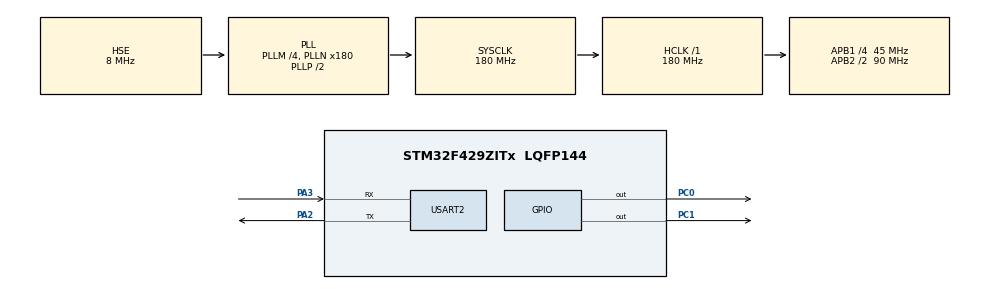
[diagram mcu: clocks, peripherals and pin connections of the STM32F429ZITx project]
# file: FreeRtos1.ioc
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FREERTOS.Tasks01=defaultTask,0,128,StartDefaultTask,Default,NULL,Dynamic,NULL,NULL;myTask02,-3,128,StartTask02,Default,NULL,Dynamic,NULL,NULL
FREERTOS.configUSE_NEWLIB_REENTRANT=1
Mcu.Family=STM32F4
Mcu.Name=STM32F429ZITx
Mcu.Package=LQFP144
NVIC.PriorityGroup=NVIC_PRIORITYGROUP_4
NVIC.TIM1_UP_TIM10_IRQn=true\:15\:0\:false\:false\:true\:false\:false\:true\:true
NVIC.TimeBase=TIM1_UP_TIM10_IRQn
NVIC.TimeBaseIP=TIM1
PA13.Mode=Serial_Wire
PA13.Signal=SYS_JTMS-SWDIO
PA14.Mode=Serial_Wire
PA14.Signal=SYS_JTCK-SWCLK
PA2.Mode=Asynchronous
PA2.Signal=USART2_TX
PA3.Mode=Asynchronous
PA3.Signal=USART2_RX
PC0.Signal=GPIO_Output
PC1.Signal=GPIO_Output
PH0/OSC_IN.Mode=HSE-External-Clock-Source
PH0/OSC_IN.Signal=RCC_OSC_IN
PH1/OSC_OUT.Mode=HSE-External-Clock-Source
PH1/OSC_OUT.Signal=RCC_OSC_OUT
ProjectManager.HeapSize=0x200
ProjectManager.StackSize=0x400
ProjectManager.TargetToolchain=STM32CubeIDE
RCC.48MHZClocksFreq_Value=120000000
RCC.AHBFreq_Value=180000000
RCC.APB1CLKDivider=RCC_HCLK_DIV4
RCC.APB1Freq_Value=45000000
RCC.APB1TimFreq_Value=90000000
RCC.APB2CLKDivider=RCC_HCLK_DIV2
RCC.APB2Freq_Value=90000000
RCC.APB2TimFreq_Value=180000000
RCC.CortexFreq_Value=180000000
RCC.HCLKFreq_Value=180000000
RCC.HSE_VALUE=8000000
RCC.HSI_VALUE=16000000
RCC.LSE_VALUE=32768
RCC.PLLM=4
RCC.PLLN=180
RCC.PLLQ=3
RCC.PLLSAIN=50
RCC.PLLSourceVirtual=RCC_PLLSOURCE_HSE
RCC.SYSCLKFreq_VALUE=180000000
RCC.SYSCLKSource=RCC_SYSCLKSOURCE_PLLCLK
RCC.VCOOutputFreq_Value=360000000
USART2.VirtualMode=VM_ASYNC
VP_FREERTOS_VS_CMSIS_V1.Mode=CMSIS_V1
VP_SYS_VS_tim1.Mode=TIM1
board=STM32F429I-DISC1

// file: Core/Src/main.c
/* USER CODE BEGIN Header */
/**
  ******************************************************************************
  * @file           : main.c
  * @brief          : Main program body
  ******************************************************************************
  * @attention
  *
  * Copyright (c) 2025 STMicroelectronics.
  * All rights reserved.
  *
  * This software is licensed under terms that can be found in the LICENSE file
  * in the root directory of this software component.
  * If no LICENSE file comes with this software, it is provided AS-IS.
  *
  ******************************************************************************
  */
/* USER CODE END Header */
#include "main.h"
#include "cmsis_os.h"

UART_HandleTypeDef huart2;

osThreadId defaultTaskHandle;
osThreadId myTask02Handle;
/* USER CODE BEGIN PV */
osThreadId Task3Handle;
/* USER CODE END PV */

void SystemClock_Config(void);
static void MX_GPIO_Init(void);
static void MX_USART2_UART_Init(void);
void StartDefaultTask(void const * argument);
void StartTask02(void const * argument);

/* USER CODE BEGIN PFP */
void Task3_init (void const * argument);
/* USER CODE END PFP */

/* USER CODE BEGIN 0 */
void send_defaulttask()
{
	uint8_t message[] ="Default Task\n";
	HAL_UART_Transmit(&huart2, message, sizeof(message), 500);
}

void send_Task02()
{
	uint8_t message[] =" Task2\n";
	HAL_UART_Transmit(&huart2, message, sizeof(message), 500);
}

void send_Task03()
{
	uint8_t message[] =" Task3\n";
	HAL_UART_Transmit(&huart2, message, sizeof(message), 500);
}
/* USER CODE END 0 */

int main(void)
{

  /* MCU Configuration--------------------------------------------------------*/

  /* Reset of all peripherals, Initializes the Flash interface and the Systick. */
  HAL_Init();

  /* Configure the system clock */
  SystemClock_Config();

  /* Initialize all configured peripherals */
  MX_GPIO_Init();
  MX_USART2_UART_Init();

  /* Create the thread(s) */
  /* definition and creation of defaultTask */
  osThreadDef(defaultTask, StartDefaultTask, osPriorityNormal, 0, 128);
  defaultTaskHandle = osThreadCreate(osThread(defaultTask), NULL);

  /* definition and creation of myTask02 */
  osThreadDef(myTask02, StartTask02, osPriorityNormal, 0, 128);
  myTask02Handle = osThreadCreate(osThread(myTask02), NULL);

  /* USER CODE BEGIN RTOS_THREADS */
  /* add threads, ... */
  // define thread
	osThreadDef(Task3,Task3_init, osPriorityNormal, 0, 128);
	//create thread
	Task3Handle = osThreadCreate(osThread(Task3), NULL);
  /* USER CODE END RTOS_THREADS */

  /* Start scheduler */
  osKernelStart();

  /* We should never get here as control is now taken by the scheduler */

  /* Infinite loop */
  while (1)
  {

  }
}

void SystemClock_Config(void)
{
  RCC_OscInitTypeDef RCC_OscInitStruct = {0};
  RCC_ClkInitTypeDef RCC_ClkInitStruct = {0};

  /** Configure the main internal regulator output voltage
  */
  __HAL_RCC_PWR_CLK_ENABLE();
  __HAL_PWR_VOLTAGESCALING_CONFIG(PWR_REGULATOR_VOLTAGE_SCALE1);

  /** Initializes the RCC Oscillators according to the specified parameters
  * in the RCC_OscInitTypeDef structure.
  */
  RCC_OscInitStruct.OscillatorType = RCC_OSCILLATORTYPE_HSE;
  RCC_OscInitStruct.HSEState = RCC_HSE_BYPASS;
  RCC_OscInitStruct.PLL.PLLState = RCC_PLL_ON;
  RCC_OscInitStruct.PLL.PLLSource = RCC_PLLSOURCE_HSE;
  RCC_OscInitStruct.PLL.PLLM = 4;
  RCC_OscInitStruct.PLL.PLLN = 180;
  RCC_OscInitStruct.PLL.PLLP = RCC_PLLP_DIV2;
  RCC_OscInitStruct.PLL.PLLQ = 3;
  if (HAL_RCC_OscConfig(&RCC_OscInitStruct) != HAL_OK)
  {
    Error_Handler();
  }

  /** Activate the Over-Drive mode
  */
  if (HAL_PWREx_EnableOverDrive() != HAL_OK)
  {
    Error_Handler();
  }

  /** Initializes the CPU, AHB and APB buses clocks
  */
  RCC_ClkInitStruct.ClockType = RCC_CLOCKTYPE_HCLK|RCC_CLOCKTYPE_SYSCLK
                              |RCC_CLOCKTYPE_PCLK1|RCC_CLOCKTYPE_PCLK2;
  RCC_ClkInitStruct.SYSCLKSource = RCC_SYSCLKSOURCE_PLLCLK;
  RCC_ClkInitStruct.AHBCLKDivider = RCC_SYSCLK_DIV1;
  RCC_ClkInitStruct.APB1CLKDivider = RCC_HCLK_DIV4;
  RCC_ClkInitStruct.APB2CLKDivider = RCC_HCLK_DIV2;

  if (HAL_RCC_ClockConfig(&RCC_ClkInitStruct, FLASH_LATENCY_5) != HAL_OK)
  {
    Error_Handler();
  }
}

static void MX_USART2_UART_Init(void)
{

  huart2.Instance = USART2;
  huart2.Init.BaudRate = 115200;
  huart2.Init.WordLength = UART_WORDLENGTH_8B;
  huart2.Init.StopBits = UART_STOPBITS_1;
  huart2.Init.Parity = UART_PARITY_NONE;
  huart2.Init.Mode = UART_MODE_TX_RX;
  huart2.Init.HwFlowCtl = UART_HWCONTROL_NONE;
  huart2.Init.OverSampling = UART_OVERSAMPLING_16;
  if (HAL_UART_Init(&huart2) != HAL_OK)
  {
    Error_Handler();
  }

}

static void MX_GPIO_Init(void)
{
  GPIO_InitTypeDef GPIO_InitStruct = {0};

  /* GPIO Ports Clock Enable */
  __HAL_RCC_GPIOH_CLK_ENABLE();
  __HAL_RCC_GPIOC_CLK_ENABLE();
  __HAL_RCC_GPIOA_CLK_ENABLE();

  /*Configure GPIO pin Output Level */
  HAL_GPIO_WritePin(GPIOC, GPIO_PIN_0|GPIO_PIN_1, GPIO_PIN_RESET);

  /*Configure GPIO pins : PC0 PC1 */
  GPIO_InitStruct.Pin = GPIO_PIN_0|GPIO_PIN_1;
  GPIO_InitStruct.Mode = GPIO_MODE_OUTPUT_PP;
  GPIO_InitStruct.Pull = GPIO_NOPULL;
  GPIO_InitStruct.Speed = GPIO_SPEED_FREQ_LOW;
  HAL_GPIO_Init(GPIOC, &GPIO_InitStruct);

}

/* USER CODE BEGIN 4 */
void Task3_init (void const * argument)
 {
     while (1)
     {
         send_Task03();
         osDelay (1000);  //
     }
 }
/* USER CODE END 4 */

void StartDefaultTask(void const * argument)
{
  /* USER CODE BEGIN 5 */
  /* Infinite loop */
  for(;;)
  {
	send_defaulttask();
  }
  /* USER CODE END 5 */
}

void StartTask02(void const * argument)
{
  /* USER CODE BEGIN StartTask02 */
  /* Infinite loop */
  for(;;)
  {
	send_Task03();
  }
  /* USER CODE END StartTask02 */
}

void HAL_TIM_PeriodElapsedCallback(TIM_HandleTypeDef *htim)
{
  if (htim->Instance == TIM1) {
    HAL_IncTick();
  }
}

void Error_Handler(void)
{
  __disable_irq();
  while (1)
  {
  }
}
